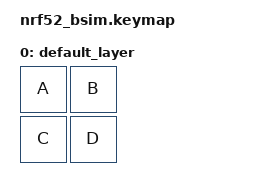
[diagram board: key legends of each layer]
/*
 * Copyright (c) 2026 amgskobo
 * SPDX-License-Identifier: MIT
 *
 * Two contacts from a touchpad on the peripheral cross the split link as raw
 * absolute coordinates and are converted on the central. The host must see
 * the two-sample-smoothed motion of each contact and nothing between them: no
 * contact button, no delta from the pair the pad sends after a lift, and no
 * jump from where the first contact ended to where the second one lands.
 */

#include <behaviors.dtsi>
#include <dt-bindings/zmk/keys.h>

#include "shared.dtsi"

&kscan {
    /delete-property/ exit-after;
    events = <>;
};

&split_listener {
    status = "okay";
};

/ {
    keymap {
        compatible = "zmk,keymap";

        default_layer {
            bindings = <
            &kp A &kp B
            &kp C &kp D>;
        };
    };
};
